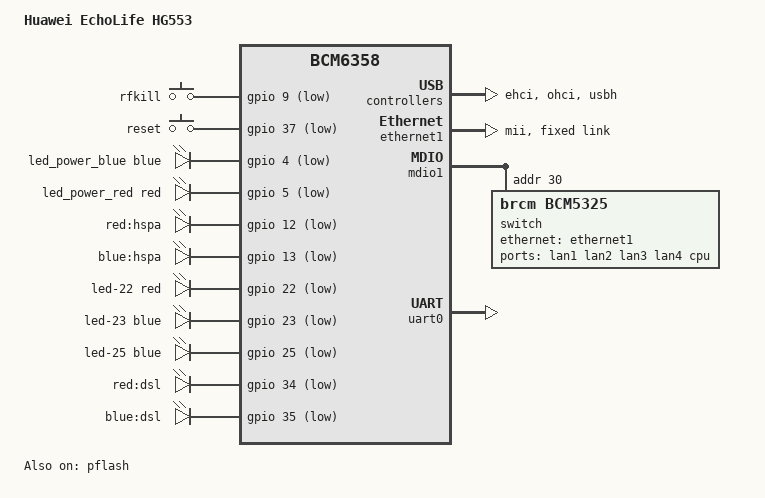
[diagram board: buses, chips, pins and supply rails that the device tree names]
// SPDX-License-Identifier: GPL-2.0-or-later

#include "bcm6358.dtsi"

/ {
	model = "Huawei EchoLife HG553";
	compatible = "huawei,hg553", "brcm,bcm6358";

	aliases {
		led-boot = &led_power_blue;
		led-failsafe = &led_power_red;
		led-running = &led_power_blue;
		led-upgrade = &led_power_blue;
	};

	keys {
		compatible = "gpio-keys-polled";
		poll-interval = <100>;

		rfkill {
			label = "rfkill";
			gpios = <&gpio 9 GPIO_ACTIVE_LOW>;
			linux,code = <KEY_RFKILL>;
			debounce-interval = <60>;
		};

		reset {
			label = "reset";
			gpios = <&gpio 37 GPIO_ACTIVE_LOW>;
			linux,code = <KEY_RESTART>;
			debounce-interval = <60>;
		};
	};

	leds {
		compatible = "gpio-leds";

		led_power_blue: led-4 {
			function = LED_FUNCTION_POWER;
			color = <LED_COLOR_ID_BLUE>;
			gpios = <&gpio 4 GPIO_ACTIVE_LOW>;
		};

		led_power_red: led-5 {
			function = LED_FUNCTION_POWER;
			color = <LED_COLOR_ID_RED>;
			gpios = <&gpio 5 GPIO_ACTIVE_LOW>;
		};

		led-12 {
			label = "red:hspa";
			gpios = <&gpio 12 GPIO_ACTIVE_LOW>;
		};

		led-13 {
			label = "blue:hspa";
			gpios = <&gpio 13 GPIO_ACTIVE_LOW>;
		};

		led-22 {
			function = LED_FUNCTION_LAN;
			color = <LED_COLOR_ID_RED>;
			gpios = <&gpio 22 GPIO_ACTIVE_LOW>;
		};

		led-23 {
			function = LED_FUNCTION_LAN;
			color = <LED_COLOR_ID_BLUE>;
			gpios = <&gpio 23 GPIO_ACTIVE_LOW>;
		};

		led-25 {
			function = LED_FUNCTION_WLAN;
			color = <LED_COLOR_ID_BLUE>;
			gpios = <&gpio 25 GPIO_ACTIVE_LOW>;
		};

		led-34 {
			label = "red:dsl";
			gpios = <&gpio 34 GPIO_ACTIVE_LOW>;
		};

		led-35 {
			label = "blue:dsl";
			gpios = <&gpio 35 GPIO_ACTIVE_LOW>;
		};
	};

	bcm4318-sprom {
		compatible = "brcm,ssb-sprom";

		pci-bus = <0>;
		pci-dev = <1>;

		nvmem-cells = <&macaddr_cfe_6a0 1>;
		nvmem-cell-names = "mac-address";

		brcm,sprom = "brcm/bcm4318-sprom.bin";
	};
};

&ehci {
	status = "okay";
};

&ethernet1 {
	status = "okay";

	nvmem-cells = <&macaddr_cfe_6a0 0>;
	nvmem-cell-names = "mac-address";

	phy-mode = "mii";

	fixed-link {
		speed = <100>;
		full-duplex;
	};
};

&iudma {
	status = "okay";
};

&mdio1 {
	switch@1e {
		compatible = "brcm,bcm5325";
		reg = <30>;

		ports {
			#address-cells = <1>;
			#size-cells = <0>;

			port@0 {
				reg = <0>;
				label = "lan1";

				phy-mode = "mii";
			};

			port@1 {
				reg = <1>;
				label = "lan2";

				phy-mode = "mii";
			};

			port@2 {
				reg = <2>;
				label = "lan3";

				phy-mode = "mii";
			};

			port@3 {
				reg = <3>;
				label = "lan4";

				phy-mode = "mii";
			};

			port@5 {
				reg = <5>;
				label = "cpu";

				phy-mode = "internal";
				ethernet = <&ethernet1>;

				fixed-link {
					speed = <100>;
					full-duplex;
				};
			};
		};
	};
};

&ohci {
	status = "okay";
};

&pflash {
	status = "okay";

	partitions {
		compatible = "fixed-partitions";
		#address-cells = <1>;
		#size-cells = <1>;

		partition@0 {
			label = "cfe";
			reg = <0x000000 0x020000>;
			read-only;

			nvmem-layout {
				compatible = "fixed-layout";
				#address-cells = <1>;
				#size-cells = <1>;

				macaddr_cfe_6a0: macaddr@6a0 {
					compatible = "mac-base";
					reg = <0x6a0 0x6>;
					#nvmem-cell-cells = <1>;
				};
			};
		};

		partition@20000 {
			label = "firmware";
			reg = <0x020000 0xfc0000>;
			compatible = "brcm,bcm963xx-imagetag";
		};

		partition@fe0000 {
			label = "nvram";
			reg = <0xfe0000 0x020000>;
		};
	};
};

&uart0 {
	status = "okay";
};

&usbh {
	status = "okay";
};
